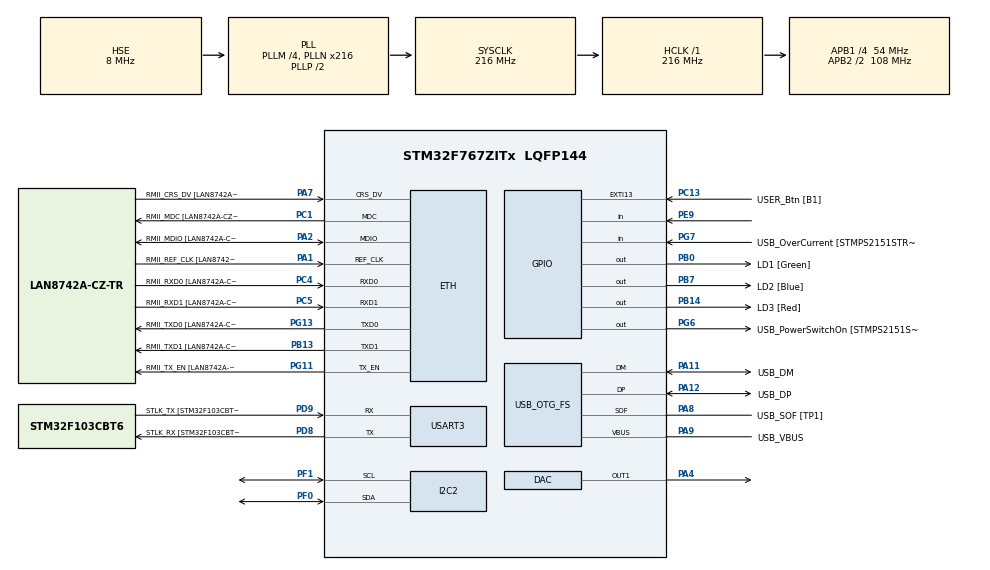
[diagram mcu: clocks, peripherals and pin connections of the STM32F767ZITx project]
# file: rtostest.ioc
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CORTEX_M7.CPU_DCache=Enabled
CORTEX_M7.CPU_ICache=Enabled
DAC.DAC_Trigger=DAC_TRIGGER_T4_TRGO
ETH.MediaInterface=HAL_ETH_RMII_MODE
ETH.PHY_Name=LAN8742A_PHY_ADDRESS
ETH.PHY_Value=0
ETH.PhyAddress=0
FREERTOS.Tasks01=Task01input,41,256,Taskuser,Default,NULL,Dynamic,NULL,NULL;Task02img,25,512,Task02image,Default,NULL,Dynamic,NULL,NULL;Task03game,34,256,Task03logic,Default,NULL,Dynamic,NULL,NULL;Task04oled,9,256,Task04display,Default,NULL,Dynamic,NULL,NULL;Task05music,10,256,Task05song,Default,NULL,Dynamic,NULL,NULL
I2C2.Timing=0x20404768
Mcu.Family=STM32F7
Mcu.Name=STM32F767ZITx
Mcu.Package=LQFP144
NVIC.PriorityGroup=NVIC_PRIORITYGROUP_4
NVIC.TIM4_IRQn=true\:15\:0\:true\:false\:true\:true\:true\:true\:true
NVIC.USART3_IRQn=true\:14\:0\:true\:false\:true\:true\:true\:true\:true
PA1.GPIO_Label=RMII_REF_CLK [LAN8742A-CZ-TR_REFCLK0]
PA1.Mode=RMII
PA1.Signal=ETH_REF_CLK
PA10.GPIO_Label=USB_ID
PA10.Signal=USB_OTG_FS_ID
PA11.GPIO_Label=USB_DM
PA11.Mode=Device_Only
PA11.Signal=USB_OTG_FS_DM
PA12.GPIO_Label=USB_DP
PA12.Mode=Device_Only
PA12.Signal=USB_OTG_FS_DP
PA13.GPIO_Label=TMS
PA13.Mode=Serial_Wire
PA13.Signal=SYS_JTMS-SWDIO
PA14.GPIO_Label=TCK
PA14.Mode=Serial_Wire
PA14.Signal=SYS_JTCK-SWCLK
PA2.GPIO_Label=RMII_MDIO [LAN8742A-CZ-TR_MDIO]
PA2.Mode=RMII
PA2.Signal=ETH_MDIO
PA4.Signal=COMP_DAC1_group
PA7.GPIO_Label=RMII_CRS_DV [LAN8742A-CZ-TR_CRS_DV]
PA7.Mode=RMII
PA7.Signal=ETH_CRS_DV
PA8.GPIO_Label=USB_SOF [TP1]
PA8.Mode=Activate_SOF_FS
PA8.Signal=USB_OTG_FS_SOF
PA9.GPIO_Label=USB_VBUS
PA9.Mode=Activate_VBUS
PA9.Signal=USB_OTG_FS_VBUS
PB0.GPIO_Label=LD1 [Green]
PB0.Signal=GPIO_Output
PB13.GPIO_Label=RMII_TXD1 [LAN8742A-CZ-TR_TXD1]
PB13.Mode=RMII
PB13.Signal=ETH_TXD1
PB14.GPIO_Label=LD3 [Red]
PB14.Signal=GPIO_Output
PB3.GPIO_Label=SWO
PB3.Signal=SYS_JTDO-SWO
PB7.GPIO_Label=LD2 [Blue]
PB7.Signal=GPIO_Output
PC1.GPIO_Label=RMII_MDC [LAN8742A-CZ-TR_MDC]
PC1.Mode=RMII
PC1.Signal=ETH_MDC
PC13.GPIO_Label=USER_Btn [B1]
PC13.Signal=GPXTI13
PC14/OSC32_IN.Mode=LSE-External-Oscillator
PC14/OSC32_IN.Signal=RCC_OSC32_IN
PC15/OSC32_OUT.Mode=LSE-External-Oscillator
PC15/OSC32_OUT.Signal=RCC_OSC32_OUT
PC4.GPIO_Label=RMII_RXD0 [LAN8742A-CZ-TR_RXD0]
PC4.Mode=RMII
PC4.Signal=ETH_RXD0
PC5.GPIO_Label=RMII_RXD1 [LAN8742A-CZ-TR_RXD1]
PC5.Mode=RMII
PC5.Signal=ETH_RXD1
PD8.GPIO_Label=STLK_RX [STM32F103CBT6_PA3]
PD8.Mode=Asynchronous
PD8.Signal=USART3_TX
PD9.GPIO_Label=STLK_TX [STM32F103CBT6_PA2]
PD9.Mode=Asynchronous
PD9.Signal=USART3_RX
PE9.GPIO_PuPd=GPIO_PULLUP
PE9.Signal=GPIO_Input
PF0.GPIO_Pu=GPIO_PULLUP
PF0.Mode=I2C
PF0.Signal=I2C2_SDA
PF1.GPIO_Pu=GPIO_PULLUP
PF1.Mode=I2C
PF1.Signal=I2C2_SCL
PG11.GPIO_Label=RMII_TX_EN [LAN8742A-CZ-TR_TXEN]
PG11.Mode=RMII
PG11.Signal=ETH_TX_EN
PG13.GPIO_Label=RMII_TXD0 [LAN8742A-CZ-TR_TXD0]
PG13.Mode=RMII
PG13.Signal=ETH_TXD0
PG6.GPIO_Label=USB_PowerSwitchOn [STMPS2151STR_EN]
PG6.Signal=GPIO_Output
PG7.GPIO_Label=USB_OverCurrent [STMPS2151STR_FAULT]
PG7.Signal=GPIO_Input
PH0/OSC_IN.GPIO_Label=MCO [STM32F103CBT6_PA8]
PH0/OSC_IN.Mode=HSE-External-Clock-Source
PH0/OSC_IN.Signal=RCC_OSC_IN
PH1/OSC_OUT.Mode=HSE-External-Clock-Source
PH1/OSC_OUT.Signal=RCC_OSC_OUT
ProjectManager.HeapSize=0x200
ProjectManager.StackSize=0x400
ProjectManager.TargetToolchain=STM32CubeIDE
RCC.48MHZClocksFreq_Value=24000000
RCC.AHBFreq_Value=216000000
RCC.APB1CLKDivider=RCC_HCLK_DIV4
RCC.APB1Freq_Value=54000000
RCC.APB1TimFreq_Value=108000000
RCC.APB2CLKDivider=RCC_HCLK_DIV2
RCC.APB2Freq_Value=108000000
RCC.APB2TimFreq_Value=216000000
RCC.CortexFreq_Value=216000000
RCC.HCLKFreq_Value=216000000
RCC.HSE_VALUE=8000000
RCC.HSI_VALUE=16000000
RCC.PLLM=4
RCC.PLLMUL=RCC_PLL_MUL9
RCC.PLLN=216
RCC.PLLQ=9
RCC.PRESCALERUSB=RCC_USBCLKSOURCE_PLL_DIV1_5
RCC.SYSCLKFreq_VALUE=216000000
RCC.SYSCLKSource=RCC_SYSCLKSOURCE_PLLCLK
RCC.SYSCLKSourceVirtual=RCC_SYSCLKSOURCE_PLLCLK
RCC.USBFreq_Value=48000000
RCC.VCOOutputFreq_Value=432000000
SH.COMP_DAC1_group.0=DAC_OUT1,DAC_OUT1
STMicroelectronics.X-CUBE-AI.10.0.0.ActivationBufferSizeList=10392
STMicroelectronics.X-CUBE-AI.10.0.0.ActivationBuffers=pool0
STMicroelectronics.X-CUBE-AI.10.0.0.ActivationNames=pool0
STMicroelectronics.X-CUBE-AI.10.0.0.ActivationSizes=AI_NETWORK_DATA_ACTIVATION_1_SIZE
STMicroelectronics.X-CUBE-AI.10.0.0.ApplicationCcDeviceJjApplication=ApplicationTemplate
STMicroelectronics.X-CUBE-AI.10.0.0.HeapSize=0x800
STMicroelectronics.X-CUBE-AI.10.0.0.InternalRamActivationBufferMaxSize=AI_NETWORK_DATA_ACTIVATIONS_SIZE
STMicroelectronics.X-CUBE-AI.10.0.0.LatestDirectoryUsed-d15c7d31dfb140f65071d410c933cb8b17639f76cc832ea2e5fe0553da3af692=C\:\\Users\\DELL\\OneDrive - KMITL\\Desktop\\RTOS
STMicroelectronics.X-CUBE-AI.10.0.0.MaximumNumberOfInputLayer=1
STMicroelectronics.X-CUBE-AI.10.0.0.MaximumNumberOfOutputLayer=1
STMicroelectronics.X-CUBE-AI.10.0.0.MaximumSizeOfInputLayer=1
STMicroelectronics.X-CUBE-AI.10.0.0.MaximumSizeOfOutputLayer=1
STMicroelectronics.X-CUBE-AI.10.0.0.ModelActualCompression-d15c7d31dfb140f65071d410c933cb8b17639f76cc832ea2e5fe0553da3af692=0.0
STMicroelectronics.X-CUBE-AI.10.0.0.ModelCompression-d15c7d31dfb140f65071d410c933cb8b17639f76cc832ea2e5fe0553da3af692=None
STMicroelectronics.X-CUBE-AI.10.0.0.ModelFlashOccupation-d15c7d31dfb140f65071d410c933cb8b17639f76cc832ea2e5fe0553da3af692=63036
STMicroelectronics.X-CUBE-AI.10.0.0.ModelHashList=d15c7d31dfb140f65071d410c933cb8b17639f76cc832ea2e5fe0553da3af692
STMicroelectronics.X-CUBE-AI.10.0.0.ModelKind-d15c7d31dfb140f65071d410c933cb8b17639f76cc832ea2e5fe0553da3af692=TFLITE
STMicroelectronics.X-CUBE-AI.10.0.0.ModelMacc-d15c7d31dfb140f65071d410c933cb8b17639f76cc832ea2e5fe0553da3af692=359992
STMicroelectronics.X-CUBE-AI.10.0.0.ModelName-d15c7d31dfb140f65071d410c933cb8b17639f76cc832ea2e5fe0553da3af692=network
STMicroelectronics.X-CUBE-AI.10.0.0.ModelNameList=network
STMicroelectronics.X-CUBE-AI.10.0.0.ModelRamOccupation-d15c7d31dfb140f65071d410c933cb8b17639f76cc832ea2e5fe0553da3af692=10392
STMicroelectronics.X-CUBE-AI.10.0.0.ModelStructureFile-d15c7d31dfb140f65071d410c933cb8b17639f76cc832ea2e5fe0553da3af692=C\:\\Users\\DELL\\OneDrive - KMITL\\Desktop\\RTOS\\quantized_model.tflite
STMicroelectronics.X-CUBE-AI.10.0.0.ModelType-d15c7d31dfb140f65071d410c933cb8b17639f76cc832ea2e5fe0553da3af692=STM32Cube.AI MCU runtime
STMicroelectronics.X-CUBE-AI.10.0.0.ReadyForCodeGeneration=true
STMicroelectronics.X-CUBE-AI.10.0.0.StackSize=0x800
STMicroelectronics.X-CUBE-AI.10.0.0.WorkingBufferStartAddrList=0xFFFFFFFF
STMicroelectronics.X-CUBE-AI.10.0.0.XAaCUBEAaAICcArtificialOoIntelligenceJjCore=true
STMicroelectronics.X-CUBE-AI.10.0.0.copyWeightToRam=false
STMicroelectronics.X-CUBE-AI.10.0.0.copyWeightToRam-d15c7d31dfb140f65071d410c933cb8b17639f76cc832ea2e5fe0553da3af692=false
STMicroelectronics.X-CUBE-AI.10.0.0.customLayerConfigEnabled=false
STMicroelectronics.X-CUBE-AI.10.0.0.customLayerConfigEnabled-d15c7d31dfb140f65071d410c933cb8b17639f76cc832ea2e5fe0553da3af692=false
STMicroelectronics.X-CUBE-AI.10.0.0.noOnnxIoTranspose=false
STMicroelectronics.X-CUBE-AI.10.0.0.noOnnxIoTranspose-d15c7d31dfb140f65071d410c933cb8b17639f76cc832ea2e5fe0553da3af692=false
STMicroelectronics.X-CUBE-AI.10.0.0.useInputAllocation=true
STMicroelectronics.X-CUBE-AI.10.0.0.useInputAllocation-d15c7d31dfb140f65071d410c933cb8b17639f76cc832ea2e5fe0553da3af692=true
STMicroelectronics.X-CUBE-AI.10.0.0.useOutputAllocation=true
STMicroelectronics.X-CUBE-AI.10.0.0.useOutputAllocation-d15c7d31dfb140f65071d410c933cb8b17639f76cc832ea2e5fe0553da3af692=true
TIM4.Period=1
TIM4.Prescaler=1223
TIM4.TIM_MasterOutputTrigger=TIM_TRGO_UPDATE
USART3.VirtualMode-Asynchronous=VM_ASYNC
USB_OTG_FS.VirtualMode=Device_Only
VP_FREERTOS_VS_CMSIS_V2.Mode=CMSIS_V2
VP_STMicroelectronics.X-CUBE-AI_VS_ArtificialOoIntelligenceJjXAaCUBEAaAI_10.0.0.Mode=ArtificialOoIntelligenceJjXAaCUBEAaAI
VP_STMicroelectronics.X-CUBE-AI_VS_DeviceJjApplication_10.0.0.Mode=DeviceJjApplication
VP_TIM4_VS_ClockSourceINT.Mode=Internal
board=NUCLEO-F767ZI

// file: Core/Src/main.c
/* USER CODE BEGIN Header */
/**
  ******************************************************************************
  * @file           : main.c
  * @brief          : Main program body
  ******************************************************************************
  * @attention
  *
  * Copyright (c) 2025 STMicroelectronics.
  * All rights reserved.
  *
  * This software is licensed under terms that can be found in the LICENSE file
  * in the root directory of this software component.
  * If no LICENSE file comes with this software, it is provided AS-IS.
  *
  ******************************************************************************
  */
/* USER CODE END Header */
#include "main.h"
#include "string.h"
#include "cmsis_os.h"
#include "app_x-cube-ai.h"

/* USER CODE BEGIN Includes */
#include <stdlib.h>
#include <time.h>
#include <string.h>

#include "ssd1306.h"
#include "ssd1306_fonts.h"
#include <stdio.h>

#include "FreeRTOS.h"
#include "queue.h"
/* USER CODE END Includes */

/* USER CODE BEGIN PD */
#define IMAGE_SIZE 784

QueueHandle_t xQueue_DigitResult;
QueueHandle_t xQueue_Display;
QueueHandle_t xQueue_SoundCommand;

int8_t image_buffer[28 * 28];
int8_t player_guess = 9;

int8_t image_ready = 0;
int8_t process_ready = 0;

int8_t game_started = 0;
uint8_t random_digit = 0;

uint32_t wav_index;
uint32_t playsong = 0;

/* USER CODE END PD */

#if defined ( __ICCARM__ ) /*!< IAR Compiler */
#pragma location=0x2007c000
ETH_DMADescTypeDef  DMARxDscrTab[ETH_RX_DESC_CNT]; /* Ethernet Rx DMA Descriptors */
#pragma location=0x2007c0a0
ETH_DMADescTypeDef  DMATxDscrTab[ETH_TX_DESC_CNT]; /* Ethernet Tx DMA Descriptors */

#elif defined ( __CC_ARM )  /* MDK ARM Compiler */

__attribute__((at(0x2007c000))) ETH_DMADescTypeDef  DMARxDscrTab[ETH_RX_DESC_CNT]; /* Ethernet Rx DMA Descriptors */
__attribute__((at(0x2007c0a0))) ETH_DMADescTypeDef  DMATxDscrTab[ETH_TX_DESC_CNT]; /* Ethernet Tx DMA Descriptors */

#elif defined ( __GNUC__ ) /* GNU Compiler */

ETH_DMADescTypeDef DMARxDscrTab[ETH_RX_DESC_CNT] __attribute__((section(".RxDecripSection"))); /* Ethernet Rx DMA Descriptors */
ETH_DMADescTypeDef DMATxDscrTab[ETH_TX_DESC_CNT] __attribute__((section(".TxDecripSection")));   /* Ethernet Tx DMA Descriptors */
#endif

ETH_TxPacketConfig TxConfig;

DAC_HandleTypeDef hdac;

ETH_HandleTypeDef heth;

I2C_HandleTypeDef hi2c2;

TIM_HandleTypeDef htim4;

UART_HandleTypeDef huart3;

PCD_HandleTypeDef hpcd_USB_OTG_FS;

/* Definitions for Task01input */
osThreadId_t Task01inputHandle;
const osThreadAttr_t Task01input_attributes = {
  .name = "Task01input",
  .stack_size = 256 * 4,
  .priority = (osPriority_t) osPriorityHigh1,
};
/* Definitions for Task02img */
osThreadId_t Task02imgHandle;
const osThreadAttr_t Task02img_attributes = {
  .name = "Task02img",
  .stack_size = 512 * 4,
  .priority = (osPriority_t) osPriorityNormal1,
};
/* Definitions for Task03game */
osThreadId_t Task03gameHandle;
const osThreadAttr_t Task03game_attributes = {
  .name = "Task03game",
  .stack_size = 256 * 4,
  .priority = (osPriority_t) osPriorityAboveNormal2,
};
/* Definitions for Task04oled */
osThreadId_t Task04oledHandle;
const osThreadAttr_t Task04oled_attributes = {
  .name = "Task04oled",
  .stack_size = 256 * 4,
  .priority = (osPriority_t) osPriorityLow1,
};
/* Definitions for Task05music */
osThreadId_t Task05musicHandle;
const osThreadAttr_t Task05music_attributes = {
  .name = "Task05music",
  .stack_size = 256 * 4,
  .priority = (osPriority_t) osPriorityLow2,
};

void SystemClock_Config(void);
static void MX_GPIO_Init(void);
static void MX_ETH_Init(void);
static void MX_USART3_UART_Init(void);
static void MX_USB_OTG_FS_PCD_Init(void);
static void MX_I2C2_Init(void);
static void MX_DAC_Init(void);
static void MX_TIM4_Init(void);
void Taskuser(void *argument);
void Task02image(void *argument);
void Task03logic(void *argument);
void Task04display(void *argument);
void Task05song(void *argument);

int main(void)
{

  /* Enable the CPU Cache */

  /* Enable I-Cache---------------------------------------------------------*/
  SCB_EnableICache();

  /* Enable D-Cache---------------------------------------------------------*/
  SCB_EnableDCache();

  /* MCU Configuration--------------------------------------------------------*/

  /* Reset of all peripherals, Initializes the Flash interface and the Systick. */
  HAL_Init();

  /* Configure the system clock */
  SystemClock_Config();

  /* Initialize all configured peripherals */
  MX_GPIO_Init();
  MX_ETH_Init();
  MX_USART3_UART_Init();
  MX_USB_OTG_FS_PCD_Init();
  MX_I2C2_Init();
  MX_DAC_Init();
  MX_TIM4_Init();
  MX_X_CUBE_AI_Init();
  /* USER CODE BEGIN 2 */
//  MX_USART3_UART_Init();
  ssd1306_Init();
  HAL_UART_Receive_IT(&huart3, (uint8_t*)image_buffer, 28 * 28);
  /* USER CODE END 2 */

  /* Init scheduler */
  osKernelInitialize();

  /* USER CODE BEGIN RTOS_QUEUES */
//  xQueue_Image = xQueueCreate(1, IMAGE_SIZE);
  xQueue_DigitResult = xQueueCreate(1, 10);
  xQueue_Display = xQueueCreate(1, 20);
  xQueue_SoundCommand = xQueueCreate(1, 10);

  /* add queues, ... */
  /* USER CODE END RTOS_QUEUES */

  /* Create the thread(s) */
  /* creation of Task01input */
  Task01inputHandle = osThreadNew(Taskuser, NULL, &Task01input_attributes);

  /* creation of Task02img */
  Task02imgHandle = osThreadNew(Task02image, NULL, &Task02img_attributes);

  /* creation of Task03game */
  Task03gameHandle = osThreadNew(Task03logic, NULL, &Task03game_attributes);

  /* creation of Task04oled */
  Task04oledHandle = osThreadNew(Task04display, NULL, &Task04oled_attributes);

  /* creation of Task05music */
  Task05musicHandle = osThreadNew(Task05song, NULL, &Task05music_attributes);

  /* Start scheduler */
  osKernelStart();

  /* We should never get here as control is now taken by the scheduler */

  /* Infinite loop */
  while (1)
  {

  }
}

void SystemClock_Config(void)
{
  RCC_OscInitTypeDef RCC_OscInitStruct = {0};
  RCC_ClkInitTypeDef RCC_ClkInitStruct = {0};

  /** Configure LSE Drive Capability
  */
  HAL_PWR_EnableBkUpAccess();

  /** Configure the main internal regulator output voltage
  */
  __HAL_RCC_PWR_CLK_ENABLE();
  __HAL_PWR_VOLTAGESCALING_CONFIG(PWR_REGULATOR_VOLTAGE_SCALE1);

  /** Initializes the RCC Oscillators according to the specified parameters
  * in the RCC_OscInitTypeDef structure.
  */
  RCC_OscInitStruct.OscillatorType = RCC_OSCILLATORTYPE_HSE;
  RCC_OscInitStruct.HSEState = RCC_HSE_BYPASS;
  RCC_OscInitStruct.PLL.PLLState = RCC_PLL_ON;
  RCC_OscInitStruct.PLL.PLLSource = RCC_PLLSOURCE_HSE;
  RCC_OscInitStruct.PLL.PLLM = 4;
  RCC_OscInitStruct.PLL.PLLN = 216;
  RCC_OscInitStruct.PLL.PLLP = RCC_PLLP_DIV2;
  RCC_OscInitStruct.PLL.PLLQ = 9;
  RCC_OscInitStruct.PLL.PLLR = 2;
  if (HAL_RCC_OscConfig(&RCC_OscInitStruct) != HAL_OK)
  {
    Error_Handler();
  }

  /** Activate the Over-Drive mode
  */
  if (HAL_PWREx_EnableOverDrive() != HAL_OK)
  {
    Error_Handler();
  }

  /** Initializes the CPU, AHB and APB buses clocks
  */
  RCC_ClkInitStruct.ClockType = RCC_CLOCKTYPE_HCLK|RCC_CLOCKTYPE_SYSCLK
                              |RCC_CLOCKTYPE_PCLK1|RCC_CLOCKTYPE_PCLK2;
  RCC_ClkInitStruct.SYSCLKSource = RCC_SYSCLKSOURCE_PLLCLK;
  RCC_ClkInitStruct.AHBCLKDivider = RCC_SYSCLK_DIV1;
  RCC_ClkInitStruct.APB1CLKDivider = RCC_HCLK_DIV4;
  RCC_ClkInitStruct.APB2CLKDivider = RCC_HCLK_DIV2;

  if (HAL_RCC_ClockConfig(&RCC_ClkInitStruct, FLASH_LATENCY_7) != HAL_OK)
  {
    Error_Handler();
  }
}

static void MX_DAC_Init(void)
{

  DAC_ChannelConfTypeDef sConfig = {0};

  /** DAC Initialization
  */
  hdac.Instance = DAC;
  if (HAL_DAC_Init(&hdac) != HAL_OK)
  {
    Error_Handler();
  }

  /** DAC channel OUT1 config
  */
  sConfig.DAC_Trigger = DAC_TRIGGER_T4_TRGO;
  sConfig.DAC_OutputBuffer = DAC_OUTPUTBUFFER_ENABLE;
  if (HAL_DAC_ConfigChannel(&hdac, &sConfig, DAC_CHANNEL_1) != HAL_OK)
  {
    Error_Handler();
  }

}

static void MX_ETH_Init(void)
{

   static uint8_t MACAddr[6];

  heth.Instance = ETH;
  MACAddr[0] = 0x00;
  MACAddr[1] = 0x80;
  MACAddr[2] = 0xE1;
  MACAddr[3] = 0x00;
  MACAddr[4] = 0x00;
  MACAddr[5] = 0x00;
  heth.Init.MACAddr = &MACAddr[0];
  heth.Init.MediaInterface = HAL_ETH_RMII_MODE;
  heth.Init.TxDesc = DMATxDscrTab;
  heth.Init.RxDesc = DMARxDscrTab;
  heth.Init.RxBuffLen = 1524;

  if (HAL_ETH_Init(&heth) != HAL_OK)
  {
    Error_Handler();
  }

  memset(&TxConfig, 0 , sizeof(ETH_TxPacketConfig));
  TxConfig.Attributes = ETH_TX_PACKETS_FEATURES_CSUM | ETH_TX_PACKETS_FEATURES_CRCPAD;
  TxConfig.ChecksumCtrl = ETH_CHECKSUM_IPHDR_PAYLOAD_INSERT_PHDR_CALC;
  TxConfig.CRCPadCtrl = ETH_CRC_PAD_INSERT;

}

static void MX_I2C2_Init(void)
{

  hi2c2.Instance = I2C2;
  hi2c2.Init.Timing = 0x20404768;
  hi2c2.Init.OwnAddress1 = 0;
  hi2c2.Init.AddressingMode = I2C_ADDRESSINGMODE_7BIT;
  hi2c2.Init.DualAddressMode = I2C_DUALADDRESS_DISABLE;
  hi2c2.Init.OwnAddress2 = 0;
  hi2c2.Init.OwnAddress2Masks = I2C_OA2_NOMASK;
  hi2c2.Init.GeneralCallMode = I2C_GENERALCALL_DISABLE;
  hi2c2.Init.NoStretchMode = I2C_NOSTRETCH_DISABLE;
  if (HAL_I2C_Init(&hi2c2) != HAL_OK)
  {
    Error_Handler();
  }

  /** Configure Analogue filter
  */
  if (HAL_I2CEx_ConfigAnalogFilter(&hi2c2, I2C_ANALOGFILTER_ENABLE) != HAL_OK)
  {
    Error_Handler();
  }

  /** Configure Digital filter
  */
  if (HAL_I2CEx_ConfigDigitalFilter(&hi2c2, 0) != HAL_OK)
  {
    Error_Handler();
  }

}

static void MX_TIM4_Init(void)
{

  TIM_ClockConfigTypeDef sClockSourceConfig = {0};
  TIM_MasterConfigTypeDef sMasterConfig = {0};

  /* USER CODE BEGIN TIM4_Init 1 */
  // top 1223 bot 1
  /* USER CODE END TIM4_Init 1 */
  htim4.Instance = TIM4;
  htim4.Init.Prescaler = 1223;
  htim4.Init.CounterMode = TIM_COUNTERMODE_UP;
  htim4.Init.Period = 1;
  htim4.Init.ClockDivision = TIM_CLOCKDIVISION_DIV1;
  htim4.Init.AutoReloadPreload = TIM_AUTORELOAD_PRELOAD_DISABLE;
  if (HAL_TIM_Base_Init(&htim4) != HAL_OK)
  {
    Error_Handler();
  }
  sClockSourceConfig.ClockSource = TIM_CLOCKSOURCE_INTERNAL;
  if (HAL_TIM_ConfigClockSource(&htim4, &sClockSourceConfig) != HAL_OK)
  {
    Error_Handler();
  }
  sMasterConfig.MasterOutputTrigger = TIM_TRGO_UPDATE;
  sMasterConfig.MasterSlaveMode = TIM_MASTERSLAVEMODE_DISABLE;
  if (HAL_TIMEx_MasterConfigSynchronization(&htim4, &sMasterConfig) != HAL_OK)
  {
    Error_Handler();
  }

}

static void MX_USART3_UART_Init(void)
{

  huart3.Instance = USART3;
  huart3.Init.BaudRate = 115200;
  huart3.Init.WordLength = UART_WORDLENGTH_8B;
  huart3.Init.StopBits = UART_STOPBITS_1;
  huart3.Init.Parity = UART_PARITY_NONE;
  huart3.Init.Mode = UART_MODE_TX_RX;
  huart3.Init.HwFlowCtl = UART_HWCONTROL_NONE;
  huart3.Init.OverSampling = UART_OVERSAMPLING_16;
  huart3.Init.OneBitSampling = UART_ONE_BIT_SAMPLE_DISABLE;
  huart3.AdvancedInit.AdvFeatureInit = UART_ADVFEATURE_NO_INIT;
  if (HAL_UART_Init(&huart3) != HAL_OK)
  {
    Error_Handler();
  }

}

static void MX_USB_OTG_FS_PCD_Init(void)
{

  hpcd_USB_OTG_FS.Instance = USB_OTG_FS;
  hpcd_USB_OTG_FS.Init.dev_endpoints = 6;
  hpcd_USB_OTG_FS.Init.speed = PCD_SPEED_FULL;
  hpcd_USB_OTG_FS.Init.dma_enable = DISABLE;
  hpcd_USB_OTG_FS.Init.phy_itface = PCD_PHY_EMBEDDED;
  hpcd_USB_OTG_FS.Init.Sof_enable = ENABLE;
  hpcd_USB_OTG_FS.Init.low_power_enable = DISABLE;
  hpcd_USB_OTG_FS.Init.lpm_enable = DISABLE;
  hpcd_USB_OTG_FS.Init.vbus_sensing_enable = ENABLE;
  hpcd_USB_OTG_FS.Init.use_dedicated_ep1 = DISABLE;
  if (HAL_PCD_Init(&hpcd_USB_OTG_FS) != HAL_OK)
  {
    Error_Handler();
  }

}

static void MX_GPIO_Init(void)
{
  GPIO_InitTypeDef GPIO_InitStruct = {0};

  /* GPIO Ports Clock Enable */
  __HAL_RCC_GPIOC_CLK_ENABLE();
  __HAL_RCC_GPIOF_CLK_ENABLE();
  __HAL_RCC_GPIOH_CLK_ENABLE();
  __HAL_RCC_GPIOA_CLK_ENABLE();
  __HAL_RCC_GPIOB_CLK_ENABLE();
  __HAL_RCC_GPIOE_CLK_ENABLE();
  __HAL_RCC_GPIOD_CLK_ENABLE();
  __HAL_RCC_GPIOG_CLK_ENABLE();

  /*Configure GPIO pin Output Level */
  HAL_GPIO_WritePin(GPIOB, LD1_Pin|LD3_Pin|LD2_Pin, GPIO_PIN_RESET);

  /*Configure GPIO pin Output Level */
  HAL_GPIO_WritePin(USB_PowerSwitchOn_GPIO_Port, USB_PowerSwitchOn_Pin, GPIO_PIN_RESET);

  /*Configure GPIO pin : USER_Btn_Pin */
  GPIO_InitStruct.Pin = USER_Btn_Pin;
  GPIO_InitStruct.Mode = GPIO_MODE_IT_RISING;
  GPIO_InitStruct.Pull = GPIO_NOPULL;
  HAL_GPIO_Init(USER_Btn_GPIO_Port, &GPIO_InitStruct);

  /*Configure GPIO pins : LD1_Pin LD3_Pin LD2_Pin */
  GPIO_InitStruct.Pin = LD1_Pin|LD3_Pin|LD2_Pin;
  GPIO_InitStruct.Mode = GPIO_MODE_OUTPUT_PP;
  GPIO_InitStruct.Pull = GPIO_NOPULL;
  GPIO_InitStruct.Speed = GPIO_SPEED_FREQ_LOW;
  HAL_GPIO_Init(GPIOB, &GPIO_InitStruct);

  /*Configure GPIO pin : PE9 */
  GPIO_InitStruct.Pin = GPIO_PIN_9;
  GPIO_InitStruct.Mode = GPIO_MODE_INPUT;
  GPIO_InitStruct.Pull = GPIO_PULLUP;
  HAL_GPIO_Init(GPIOE, &GPIO_InitStruct);

  /*Configure GPIO pin : USB_PowerSwitchOn_Pin */
  GPIO_InitStruct.Pin = USB_PowerSwitchOn_Pin;
  GPIO_InitStruct.Mode = GPIO_MODE_OUTPUT_PP;
  GPIO_InitStruct.Pull = GPIO_NOPULL;
  GPIO_InitStruct.Speed = GPIO_SPEED_FREQ_LOW;
  HAL_GPIO_Init(USB_PowerSwitchOn_GPIO_Port, &GPIO_InitStruct);

  /*Configure GPIO pin : USB_OverCurrent_Pin */
  GPIO_InitStruct.Pin = USB_OverCurrent_Pin;
  GPIO_InitStruct.Mode = GPIO_MODE_INPUT;
  GPIO_InitStruct.Pull = GPIO_NOPULL;
  HAL_GPIO_Init(USB_OverCurrent_GPIO_Port, &GPIO_InitStruct);

}

/* USER CODE BEGIN 4 */
void HAL_UART_RxCpltCallback(UART_HandleTypeDef *huart)
{
  if (huart == &huart3)
  {
//    HAL_UART_Transmit(&huart3, (uint8_t *)"Received", 8, HAL_MAX_DELAY);

	  image_ready = 1;

//	  HAL_UART_Receive_IT(&huart3, (uint8_t*)image_buffer, 28 * 28);

	  HAL_GPIO_WritePin(GPIOB, GPIO_PIN_0, 1);
  }
}

void PlayWav(void) {
    wav_index = 0;
    HAL_TIM_Base_Start_IT(&htim4);
    HAL_DAC_Start(&hdac, DAC_CHANNEL_1);
}
/* USER CODE END 4 */

void Taskuser(void *argument)
{
  /* USER CODE BEGIN 5 */
//	char buffer[10];

  /* Infinite loop */
  for(;;)
  {

	  if (HAL_GPIO_ReadPin(GPIOE, GPIO_PIN_9) == 0) {
	        HAL_GPIO_WritePin(GPIOB, GPIO_PIN_7, 1);

	        if (game_started == 0) {
	          srand(HAL_GetTick());
	          random_digit = rand() % 10;
	          game_started = 1;
	          ssd1306_Fill(Black);
	          ssd1306_UpdateScreen();
	          HAL_UART_Receive_IT(&huart3, (uint8_t*)image_buffer, 28 * 28);
	        }
	        else{
	        	srand(HAL_GetTick());
	        	random_digit = rand() % 10;
	        }
	      }

	   HAL_GPIO_WritePin(GPIOB, GPIO_PIN_14, game_started ? 1 : 0);

	 HAL_UART_Transmit(&huart3, "1", 1, HAL_MAX_DELAY);
    osDelay(10);
  }
  /* USER CODE END 5 */
}

void Task02image(void *argument)
{
  /* USER CODE BEGIN Task02image */
	char buffer[10];
  /* Infinite loop */
  for(;;)
  {
	   if(image_ready == 1)
	    {

	      MX_X_CUBE_AI_Process();

	      sprintf(buffer, "%d", player_guess);
	      HAL_UART_Transmit(&huart3, (uint8_t *)buffer, strlen(buffer), HAL_MAX_DELAY);

//	      HAL_UART_Receive_IT(&huart3, (uint8_t*)image_buffer, 28 * 28);

	      memset(image_buffer, 0, sizeof(image_buffer));

	      image_ready = 0;

	      HAL_GPIO_WritePin(GPIOB, GPIO_PIN_0, 0);
	      xQueueSend(xQueue_DigitResult, &buffer, portMAX_DELAY);

	    }

	  HAL_UART_Transmit(&huart3, "2", 1, HAL_MAX_DELAY);
    osDelay(10);
  }
  /* USER CODE END Task02image */
}

void Task03logic(void *argument)
{
  /* USER CODE BEGIN Task03logic */
	char buffer[10];
	char messageDis[20];
	char messageSound[10];
	uint8_t song = 0;
  /* Infinite loop */
  for(;;)
  {

	  if(game_started == 1){

	   if (xQueueReceive(xQueue_DigitResult, &buffer, portMAX_DELAY) == pdTRUE) {

		            	 uint8_t number_player = atoi(buffer);

		            	 if (random_digit  == number_player) {

		            		 srand(HAL_GetTick());
		            		 random_digit = rand() % 10;

//		            		 game_started = 1; //1

							 sprintf((char*)messageDis, "Correct!");
							 xQueueSend(xQueue_Display, &messageDis, portMAX_DELAY);

							 song = 3;
							 sprintf(messageSound, "%d", song);
							 xQueueSend(xQueue_SoundCommand, &messageSound, portMAX_DELAY);

							 game_started = 0; //1

		            	 }
		            	 else if (random_digit < number_player) {

		            		 sprintf((char*)messageDis, "%d Too much",number_player);
		            	 	 xQueueSend(xQueue_Display, &messageDis, portMAX_DELAY);

		            	 	 song = 1;
		            	 	 sprintf(messageSound, "%d", song);
		            	 	 xQueueSend(xQueue_SoundCommand, &messageSound, portMAX_DELAY);
		            	 }
		            	 else if (random_digit > number_player) {

		            		 sprintf((char*)messageDis, "%d Too few",number_player);
		            	 	 xQueueSend(xQueue_Display, &messageDis, portMAX_DELAY);

		            	 	 song = 2;
		            	 	 sprintf(messageSound, "%d", song);
		            	 	 xQueueSend(xQueue_SoundCommand, &messageSound, portMAX_DELAY);
		            	 }

	   }
	 }

	  HAL_UART_Transmit(&huart3, "3", 1, HAL_MAX_DELAY);
    osDelay(10);
  }
  /* USER CODE END Task03logic */
}

void Task04display(void *argument)
{
  /* USER CODE BEGIN Task04display */
	char messageDis[20];
	char buffer[10];
	char result[10];
	char start_message[20] = "Guess the";
	char end_message[20] = "number?";
  /* Infinite loop */
  for(;;)
  {

	  if(game_started == 1){
		  if (xQueueReceive(xQueue_Display, messageDis, portMAX_DELAY) == pdTRUE) {

			  	  	  	sprintf(buffer, "%d", game_started);
			  	  	  	sprintf(result, "%d", random_digit);

						ssd1306_Fill(Black);

						ssd1306_SetCursor(5,20);
						ssd1306_WriteString(messageDis, Font_11x18, White);

//						ssd1306_SetCursor(5,15);
//						ssd1306_WriteString(buffer, Font_7x10, White);
//
//						ssd1306_SetCursor(5,15*2);
//						ssd1306_WriteString(result, Font_7x10, White);

						ssd1306_UpdateScreen();

		  }
	  }
	  else{

		  ssd1306_Fill(Black);
		  ssd1306_SetCursor(5,15);
		  ssd1306_WriteString(start_message, Font_11x18, White);
		  ssd1306_SetCursor(50,32);
		  ssd1306_WriteString(end_message, Font_11x18, White);
		  ssd1306_UpdateScreen();

	  }

	  HAL_UART_Transmit(&huart3, "4", 1, HAL_MAX_DELAY);
    osDelay(20);
  }
  /* USER CODE END Task04display */
}

void Task05song(void *argument)
{
  /* USER CODE BEGIN Task05song */
	char messageSound[10];
  /* Infinite loop */
  for(;;)
  {
	  if(game_started == 1){

		  if (xQueueReceive(xQueue_SoundCommand, messageSound, portMAX_DELAY) == pdTRUE) {

				  uint8_t number_song = atoi(messageSound);
							 if (number_song == 1){

								playsong = 1;
								PlayWav();
								HAL_UART_Receive_IT(&huart3, (uint8_t*)image_buffer, 28 * 28);

							 }
							 else if (number_song == 2){

								playsong = 2;
								PlayWav();
								HAL_UART_Receive_IT(&huart3, (uint8_t*)image_buffer, 28 * 28);
							 }
							 else if (number_song == 3){

								playsong = 3;
								PlayWav();
							    HAL_UART_Receive_IT(&huart3, (uint8_t*)image_buffer, 28 * 28);
						     }

			}
	  }

	  HAL_UART_Transmit(&huart3, "5", 1, HAL_MAX_DELAY);
    osDelay(10);
  }
  /* USER CODE END Task05song */
}

void Error_Handler(void)
{
  __disable_irq();
  while (1)
  {
  }
}
